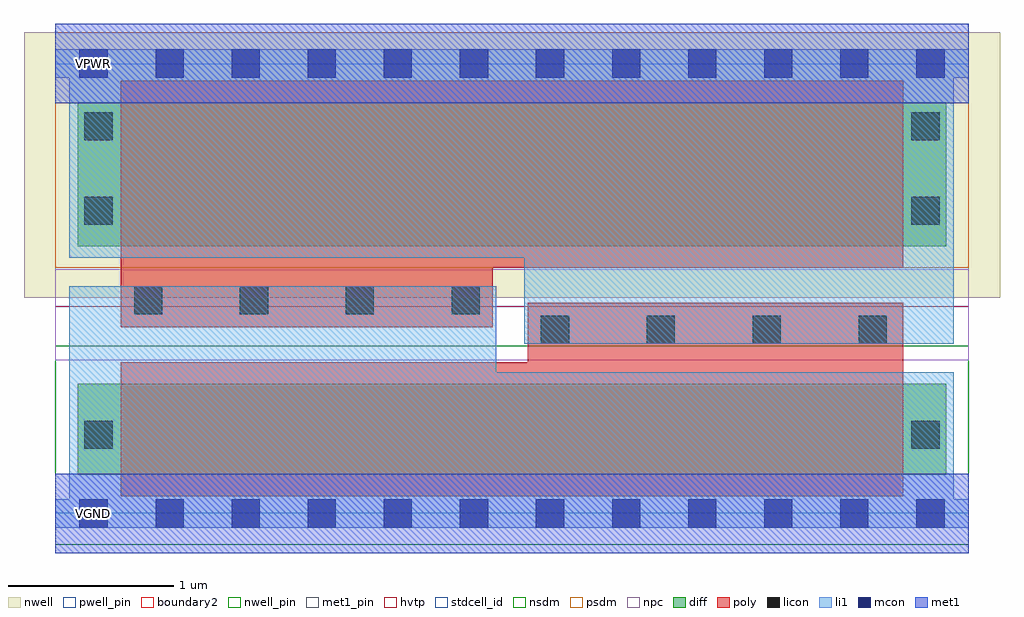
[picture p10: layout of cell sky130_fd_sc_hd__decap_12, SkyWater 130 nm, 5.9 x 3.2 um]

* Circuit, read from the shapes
.subckt sky130_fd_sc_hd__decap_12 VGND VNB VPB VPWR
XM1 VGND VPWR VGND VNB sky130_fd_pr__nfet_01v8 w=0.55 l=4.73
XM2 VPWR VGND VPWR VPB sky130_fd_pr__pfet_01v8_hvt w=0.87 l=4.73
.ends

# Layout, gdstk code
import gdstk
lib = gdstk.Library(unit=1e-6, precision=1e-09)
def R(c, l, rs):  # rectangles x0, y0, x1, y1
    for r in rs: c.add(gdstk.rectangle(r[:2], r[2:], *l))
def A(c, l, x, y, w, h, nx, ny, dx, dy):  # array of equal rectangles
    R(c, l, [(x+i*dx, y+j*dy, x+i*dx+w, y+j*dy+h) for i in range(nx) for j in range(ny)])
def P(c, l, *ps):  # polygons
    for p in ps: c.add(gdstk.Polygon(p, *l))
nwell_pin = (64, 16)
nwell = (64, 20)
diff = (65, 20)
poly = (66, 20)
licon = (66, 44)
li1 = (67, 20)
mcon = (67, 44)
met1_pin = (68, 16)
met1 = (68, 20)
hvtp = (78, 44)
stdcell_id = (81, 4)
nsdm = (93, 44)
psdm = (94, 20)
npc = (95, 20)
pwell_pin = (122, 16)
boundary2 = (236, 0)

sky130_fd_sc_hd__decap_1 = lib.new_cell('sky130_fd_sc_hd__decap_12')
R(sky130_fd_sc_hd__decap_1, nwell_pin, [(0.145,2.635,0.315,2.805)])
R(sky130_fd_sc_hd__decap_1, nwell, [(-0.19,1.305,5.71,2.91)])
R(sky130_fd_sc_hd__decap_1, diff, [(0.135,0.235,5.385,0.785), (0.135,1.615,5.385,2.485)])
P(sky130_fd_sc_hd__decap_1, poly, [(5.125,2.615),(0.395,2.615),(0.395,1.125),(2.645,1.125),(2.645,1.485),(5.125,1.485)],
  [(5.125,1.275),(2.855,1.275),(2.855,0.915),(0.395,0.915),(0.395,0.105),(5.125,0.105)])
A(sky130_fd_sc_hd__decap_1, licon, 2.935, 1.025, 0.17, 0.17, 4, 1, 0.64, 0)
A(sky130_fd_sc_hd__decap_1, licon, 0.475, 1.205, 0.17, 0.17, 4, 1, 0.64, 0)
R(sky130_fd_sc_hd__decap_1, licon, [(0.175,0.39,0.345,0.56), (5.175,0.39,5.345,0.56), (0.175,1.745,0.345,1.915), (5.175,1.745,5.345,1.915), (0.175,2.255,0.345,2.425), (5.175,2.255,5.345,2.425)])
P(sky130_fd_sc_hd__decap_1, li1, [(5.52,0.085),(5.43,0.085),(5.43,0.855),(2.665,0.855),(2.665,1.375),(0.085,1.375),(0.085,0.085),(0,0.085),(0,-0.085),(5.52,-0.085)],
  [(5.52,2.805),(0,2.805),(0,2.635),(0.085,2.635),(0.085,1.545),(2.835,1.545),(2.835,1.025),(5.43,1.025),(5.43,2.635),(5.52,2.635)])
A(sky130_fd_sc_hd__decap_1, mcon, 0.145, -0.085, 0.17, 0.17, 12, 2, 0.46, 2.72)
R(sky130_fd_sc_hd__decap_1, met1_pin, [(0.145,-0.085,0.315,0.085), (0.145,2.635,0.315,2.805)])
R(sky130_fd_sc_hd__decap_1, hvtp, [(0,1.25,5.52,2.72)])
R(sky130_fd_sc_hd__decap_1, stdcell_id, [(0,0,5.52,2.72)])
R(sky130_fd_sc_hd__decap_1, nsdm, [(0,-0.19,5.52,1.015)])
R(sky130_fd_sc_hd__decap_1, psdm, [(0,1.485,5.52,2.91)])
R(sky130_fd_sc_hd__decap_1, npc, [(0,0.925,5.52,1.475)])
R(sky130_fd_sc_hd__decap_1, pwell_pin, [(0.145,-0.085,0.315,0.085)])
R(sky130_fd_sc_hd__decap_1, boundary2, [(0,0,5.52,2.72)])
sky130_fd_sc_hd__decap_1.add(gdstk.FlexPath([(0,2.72),(5.52,2.72)], 0.48, ends="flush", simple_path=True, layer=68, datatype=20))  # met1
sky130_fd_sc_hd__decap_1.add(gdstk.FlexPath([(0,0),(5.52,0)], 0.48, ends="flush", simple_path=True, layer=68, datatype=20))  # met1
sky130_fd_sc_hd__decap_1.add(gdstk.Label('VGND', (0.23,0), layer=68, texttype=5))
sky130_fd_sc_hd__decap_1.add(gdstk.Label('VPWR', (0.23,2.72), layer=68, texttype=5))
sky130_fd_sc_hd__decap_1.add(gdstk.Label('VPB', (0.23,2.72), layer=64, texttype=5))
sky130_fd_sc_hd__decap_1.add(gdstk.Label('VNB', (0.23,0), layer=64, texttype=59))
sky130_fd_sc_hd__decap_1.add(gdstk.Label('decap_12', (0,0), layer=83, texttype=44))

lib.write_gds('sky130_fd_sc_hd__decap_12.gds')
